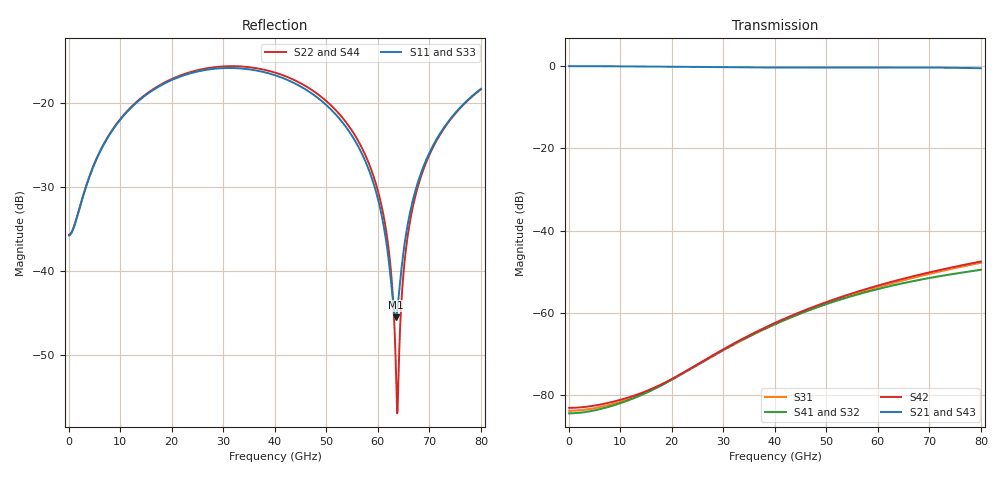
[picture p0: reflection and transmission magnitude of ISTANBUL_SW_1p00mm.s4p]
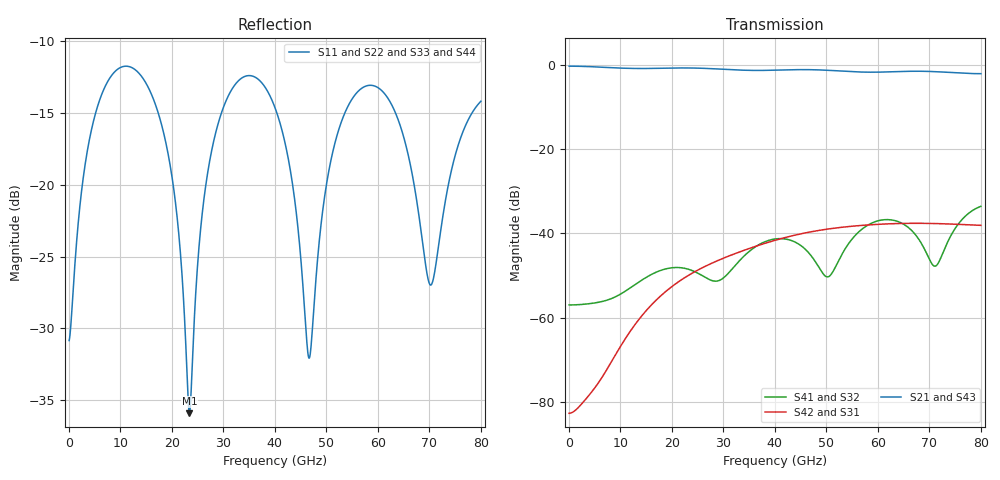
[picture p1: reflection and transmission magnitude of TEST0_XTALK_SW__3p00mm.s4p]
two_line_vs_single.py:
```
"""Istanbul line A (ports 1, 2; line B ports in 50 ohm): extrapolation to 10 mm.
Two-line method (5 + 8.75 mm): with identical ends E, the ABCD matrices are T_L = E1 Tline(L) E2, so
M = T_8.75 T_5^-1 = E1 Tline(3.75) E1^-1 and T_10 = M^(1/3) T_8.75 = E1 Tline(10) E2: the CST ends appear once, the line
is exact, no line model or Zc needed. Eigenvalues of M = exp(-+gamma 3.75 mm) give gamma free of end effects.
Single-line method (GUI): alpha, n_m, Zc from one length (extract_line_fit), uniform line of 10 mm between 50 ohm.
Check of the two-line method: (3 + 5) -> 8.75 mm against the simulated 8.75 mm.
Caveats: 3/5 mm and 1/8.75 mm are two mesh/port families (four_lengths_results.md); 5 + 8.75 mixes them.
The two-line result is singular where the length difference is a multiple of half a wavelength (19, 38, 57 GHz for
3.75 mm): spikes there are the method, not the line. Two-line alpha is noisy point to point; smoothed for the EO."""
import os, sys, tempfile
HERE = os.path.dirname(os.path.abspath(__file__)); sys.path.insert(0, os.path.abspath(os.path.join(HERE, "../../../..")))
import numpy as np, skrf as rf, matplotlib
matplotlib.use("Agg"); import matplotlib.pyplot as plt
from mzm_interconnect.extractor import extract_line_fit
from mzm_interconnect.physics import eo_transfer, C0
FILES = {1.0: "ISTANBUL_SW_1p00mm.s4p", 3.0: "TEST0_XTALK_SW__3p00mm.s4p", 5.0: "TEST0_XTALK_SW_5mm.s4p", 8.75: "ISTANBUL_SW_8p75mm.s4p"}
Z0 = 50.0; tmp = tempfile.mkdtemp()
net = {L: rf.Network(os.path.join(HERE, fn)).subnetwork([0, 1]) for L, fn in FILES.items()}
F = net[5.0].f / 1e9; k = (F >= 1) & (F <= 60); f = F[k]
def s2a(s):
    s11, s12, s21, s22 = s[:, 0, 0], s[:, 0, 1], s[:, 1, 0], s[:, 1, 1]
    A = ((1 + s11) * (1 - s22) + s12 * s21) / (2 * s21); B = Z0 * ((1 + s11) * (1 + s22) - s12 * s21) / (2 * s21)
    C = ((1 - s11) * (1 - s22) - s12 * s21) / (2 * s21 * Z0); D = ((1 - s11) * (1 + s22) + s12 * s21) / (2 * s21)
    return np.stack([np.stack([A, B], -1), np.stack([C, D], -1)], -2)
def a2s(T):
    A, B, C, D = T[:, 0, 0], T[:, 0, 1], T[:, 1, 0], T[:, 1, 1]; d = A + B / Z0 + C * Z0 + D
    return np.stack([np.stack([(A + B / Z0 - C * Z0 - D) / d, 2 * (A * D - B * C) / d], -1), np.stack([2 / d, (-A + B / Z0 - C * Z0 + D) / d], -1)], -2)
T = {L: s2a(n.s[k]) for L, n in net.items()}
def two_line(La, Lb, Lt):
    """gamma from (La < Lb) and T at Lt = M^p T_Lb, p = (Lt - Lb)/(Lb - La)."""
    M = T[Lb] @ np.linalg.inv(T[La]); dL = (Lb - La) * 1e-3
    w, V = np.linalg.eig(M)
    g = -np.log(w) / dL                         # two eigenvalues: exp(-gamma dL), exp(+gamma dL)
    i = np.argmax(g.real, axis=1); j = 1 - i     # forward wave: Re(gamma) > 0
    gf = g[np.arange(len(f)), i]
    beta = np.unwrap(-np.angle(w[np.arange(len(f)), i])) / dL  # unwrap the phase over frequency
    beta += 2 * np.pi * np.round((2 * np.pi * f * 1e9 * 2.1 / C0 - beta)[0] / (2 * np.pi / dL)) / dL * 0
    gam = gf.real + 1j * beta
    p = (Lt - Lb) / (Lb - La)
    lam = np.zeros((len(f), 2), complex)
    lam[np.arange(len(f)), i] = np.exp(-gam * dL * p); lam[np.arange(len(f)), j] = np.exp(gam * dL * p)
    Mp = V @ (lam[:, :, None] * np.linalg.inv(V))
    return gam, a2s(Mp @ T[Lb])
def single(L, Lt, ff=None):
    n = net[L]; p = os.path.join(tmp, f"A{int(L*100)}"); n.write_touchstone(p); fit = extract_line_fit(p + ".s2p", L)
    ff = f if ff is None else ff
    g = fit.alpha_dB_cm(ff) * 100 / 8.686 + 1j * 2 * np.pi * ff * 1e9 * fit.nm(ff) / C0; zc = fit.Zc(ff); gl = g * Lt * 1e-3
    den = 2 * zc * Z0 * np.cosh(gl) + (zc ** 2 + Z0 ** 2) * np.sinh(gl)
    return fit, (zc ** 2 - Z0 ** 2) * np.sinh(gl) / den, 2 * zc * Z0 / den
dB = lambda x: 20 * np.log10(abs(x)); ph = lambda x: np.degrees(np.unwrap(np.angle(x)))
at = lambda y, q: y[np.argmin(abs(f - q))]
# check of the two-line method on a simulated length
g35, S875 = two_line(3.0, 5.0, 8.75); s = net[8.75].s[k]
print("check (3+5 -> 8.75 vs simulated 8.75): |S21| err at 30/60 GHz %+.3f %+.3f dB, phase err %+.1f %+.1f deg, |S11| rms %.2f dB" % (
      at(dB(S875[:, 1, 0]) - dB(s[:, 1, 0]), 30), at(dB(S875[:, 1, 0]) - dB(s[:, 1, 0]), 60),
      at(ph(S875[:, 1, 0]) - ph(s[:, 1, 0]), 30), at(ph(S875[:, 1, 0]) - ph(s[:, 1, 0]), 60), np.sqrt(np.mean((dB(S875[:, 0, 0]) - dB(s[:, 0, 0])) ** 2))))
g58, S10 = two_line(5.0, 8.75, 10.0)
nm2 = lambda g: g.imag * C0 / (2 * np.pi * f * 1e9); al2 = lambda g: g.real * 8.686 / 100
print("\nline parameters at 30 / 60 GHz:   n_m            alpha (dB/cm)")
print("  two-line 5 + 8.75 mm     %.4f %.4f   %.3f %.3f" % (at(nm2(g58), 30), at(nm2(g58), 60), at(al2(g58), 30), at(al2(g58), 60)))
print("  two-line 3 + 5 mm        %.4f %.4f   %.3f %.3f" % (at(nm2(g35), 30), at(nm2(g35), 60), at(al2(g35), 30), at(al2(g35), 60)))
fits = {}
for L in (3.0, 5.0, 8.75):
    fit, s11, s21 = single(L, 10.0); fits[L] = (fit, s11, s21)
    print("  single %5.2f mm (fit)    %.4f %.4f   %.3f %.3f   Re Zc %.1f %.1f" % (L, *fit.nm(np.array([30., 60.])), *fit.alpha_dB_cm(np.array([30., 60.])), *fit.Zc(np.array([30., 60.])).real))
print("\n10 mm, single-line extrapolation minus two-line (5 + 8.75):")
print("  from    |S21| at 30/60 GHz (dB)   S21 phase at 30/60 (deg)   |S11| rms 1-60 (dB)   EO at 30/60 (dB)")
fe = np.arange(1.0, 60.01, 0.25); REF = (fe >= 3) & (fe <= 10.7)
zref = fits[8.75][0].Zc(fe)
def eo(al, nm):
    H, _ = eo_transfer(fe, al, nm, zref, 10e-3, 2.27, 50.0, 50.0); return 20 * np.log10(abs(H) / np.mean(abs(H[REF])))
from scipy.signal import savgol_filter
def smooth(g):
    """two-line alpha is noisy point to point (the loss over 3.75 mm is ~1-2 dB): least-squares a sqrt f + b f + c;
    n_m: Savitzky-Golay, 81 points (6.4 GHz), order 2."""
    A = np.c_[np.sqrt(f), f, np.ones_like(f)]; c, *_ = np.linalg.lstsq(A, al2(g), rcond=None)
    return np.interp(fe, f, A @ c), np.interp(fe, f, savgol_filter(nm2(g), 81, 2))
eo2 = eo(*smooth(g58))
print("two-line pairs, medians over 25-35 GHz (alpha dB/cm +- std point to point, n_m): " + "; ".join(
    f"{a:g}+{b:g}: {np.median(al2(two_line(a, b, 10.0)[0])[(f >= 25) & (f < 35)]):.2f} +- {np.std(al2(two_line(a, b, 10.0)[0])[(f >= 25) & (f < 35)]):.2f}, "
    f"{np.median(nm2(two_line(a, b, 10.0)[0])[(f >= 25) & (f < 35)]):.4f}" for a, b in ((5.0, 8.75), (3.0, 5.0), (1.0, 8.75), (3.0, 8.75))))
ae = lambda y, q: y[np.argmin(abs(fe - q))]
out = {}
for L, (fit, s11, s21) in fits.items():
    e1 = eo(fit.alpha_dB_cm(fe), fit.nm(fe)) - eo2; out[L] = (s21, s11, e1)
    print(f"  {L:5.2f}   {at(dB(s21) - dB(S10[:, 1, 0]), 30):+.3f} {at(dB(s21) - dB(S10[:, 1, 0]), 60):+.3f}          "
          f"{at(ph(s21) - ph(S10[:, 1, 0]), 30):+6.1f} {at(ph(s21) - ph(S10[:, 1, 0]), 60):+6.1f}              "
          f"{np.sqrt(np.mean((dB(s11) - dB(S10[:, 0, 0])) ** 2)):.2f}                {ae(e1, 30):+.3f} {ae(e1, 60):+.3f}")
print("  (EO: same Zc, 50/50 ohm, n_g 2.27; only alpha and n_m differ)")
fig, ax = plt.subplots(1, 3, figsize=(15, 4.4))
ax[0].plot(f, dB(S10[:, 1, 0]), "k", lw=2.2, label="two-line (5 + 8.75 mm)"); ax[1].plot(f, dB(S10[:, 0, 0]), "k", lw=1.6, label="two-line (5 + 8.75 mm)")
C = {3.0: "#1baa7d", 5.0: "#7a4bd1", 8.75: "#2a78d6"}
for L, (s21, s11, e1) in out.items():
    ax[0].plot(f, dB(s21), color=C[L], lw=1.2, label=f"single line {L:g} mm"); ax[1].plot(f, dB(s11), color=C[L], lw=1.0, label=f"single line {L:g} mm")
    ax[2].plot(f, ph(s21) - ph(S10[:, 1, 0]), color=C[L], lw=1.4, label=f"single line {L:g} mm")
ax[0].set_ylim(-6, 0); ax[1].set_ylim(-50, 0); ax[2].axhline(0, color="k", lw=0.8)
for a_, t in zip(ax, ("|S21| at 10 mm (dB)", "|S11| at 10 mm (dB)", "S21 phase error vs two-line (deg)")):
    a_.set_xlim(0, 60); a_.set_xlabel("frequency (GHz)"); a_.set_ylabel(t); a_.grid(alpha=0.3); a_.legend(frameon=False, fontsize=8)
fig.suptitle("Istanbul line A extrapolated to 10 mm: two-line de-embedding (5 + 8.75 mm) vs single-line extraction", fontsize=11)
fig.tight_layout(); fig.savefig(os.path.join(HERE, "two_line_vs_single.png"), dpi=170)

# summary table: single-line fits at each length and the two-line (5 + 8.75 mm) values, away from the blind spots
QS = (15.0, 30.0, 50.0)
blind = np.zeros_like(f, bool)
for m in (1, 2, 3): blind |= abs(f - m * C0 / (2 * 2.10 * 3.75e-3) / 1e9) < 1.5
win = lambda y, q: np.median(y[(abs(f - q) <= 2.0) & ~blind])
print("\nTable (n_m | Re Z0 ohm | alpha dB/cm) at " + ", ".join(f"{q:g}" for q in QS) + " GHz")
for L in (1.0, 3.0, 5.0, 8.75):
    fit = single(L, 10.0)[0]; q = np.array(QS)
    print(f"  single {L:5.2f} mm: " + " | ".join(f"{n:.4f} {z:.1f} {a:.2f}" for n, z, a in zip(fit.nm(q), fit.Zc(q).real, fit.alpha_dB_cm(q))))
print("  two-line 5+8.75 : " + " | ".join(f"{win(nm2(g58), q):.4f}  n/a {win(al2(g58), q):.2f}" for q in QS) + "   (medians +-2 GHz)")
```
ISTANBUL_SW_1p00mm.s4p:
! TOUCHSTONE file generated by CST MICROWAVE STUDIO
! Date and time: Wed Oct 21 13:39:17 2026
! Project name: TEST0_XTALK_SW_1mm.cst
! Parameters = {L=1; L1=0.01; L2=0.076; PITCH=0.2; START_POSITION=0.075; W1=0.002; W2=0.022; gap=0.00415; interaxis=0.625; ln_thickness=0.000275; mtx=0.002; si_thickness=0.3; sio2_thickness=0.0047; w=1; wg=0.03; ws=0.01}
! Header version: 2024
! Port assignment regex: !\s*Touchstone port\s*([0-9]+)\s*=\s*(CST MWS port|CST DES external port|CST DES block port)\s*(.+)\s* \(\"(.*)\"\)(\s*mode\s*([0-9]+))?.*
! Touchstone port assignment:
! Touchstone port 1 = CST MWS port 1 ("")
! Touchstone port 2 = CST MWS port 2 ("")
! Touchstone port 3 = CST MWS port 3 ("")
! Touchstone port 4 = CST MWS port 4 ("")
# GHz S MA R 50
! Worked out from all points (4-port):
!   1000 points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, 80 MHz to 80 GHz, reference 50 ohm
!   strongest paths, dB at 80 MHz, 20.08 GHz, 40.08 GHz, 60.08 GHz, 80 GHz:
!     S21: -0.1, -0.3, -0.5, -0.4, -0.6
!     S43: -0.1, -0.3, -0.5, -0.4, -0.6
!     S42: -83.0, -75.9, -62.4, -53.3, -47.5
!     S41: -84.3, -76.1, -62.6, -54.2, -49.5
!     S32: -84.3, -76.1, -62.6, -54.2, -49.5
!     S31: -83.7, -76.1, -62.7, -53.7, -47.8
!   lowest |S11| = -45.5 dB at 63.44 GHz (marker M1), VSWR 1.01, Z = 50.5 + j0.0504 ohm
!   |S11| at or under -10 dB: start of sweep to end of sweep
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0.08  0.01632 2.1  0.9835 -0.2  6.532e-05 178.9  6.08e-05 -1.1
      0.9835 -0.2  0.01648 2.0  6.083e-05 -1.1  7.081e-05 178.9
      6.532e-05 178.9  6.083e-05 -1.1  0.01632 2.1  0.9835 -0.2
      6.08e-05 -1.1  7.081e-05 178.9  0.9835 -0.2  0.01648 2.0
63.44  0.005305 5.4  0.9501 -175.9  0.002356 -51.4  0.002196 127.5
       0.9501 -175.9  0.003063 -76.1  0.002196 127.5  0.002464 -50.1
       0.002356 -51.4  0.002196 127.5  0.005304 5.4  0.9501 -175.9
       0.002196 127.5  0.002464 -50.1  0.9501 -175.9  0.003063 -76.1
80  0.1222 54.5  0.9283 136.9  0.004067 -173.7  0.003344 -1.2
    0.9283 136.9  0.1214 31.7  0.003344 -1.1  0.004218 -171.9
    0.004067 -173.7  0.003344 -1.1  0.1222 54.5  0.9283 136.9
    0.003344 -1.2  0.004218 -171.9  0.9283 136.9  0.1214 31.7
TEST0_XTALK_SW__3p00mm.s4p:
! TOUCHSTONE file generated by CST MICROWAVE STUDIO
! Date and time: Thu Oct 22 15:25:15 2026
! Project name: TEST0_XTALK_SW_3mm.cst
! Parameters = {L=3; L1=0.01; L2=0.076; PITCH=0.2; START_POSITION=0.1; W1=0.002; W2=0.022; gap=0.00415; interaxis=0.625; ln_thickness=0.000275; mtx=0.002; si_thickness=0.3; sio2_thickness=0.0047; w=1; wg=0.03; ws=0.01}
! Header version: 2024
! Port assignment regex: !\s*Touchstone port\s*([0-9]+)\s*=\s*(CST MWS port|CST DES external port|CST DES block port)\s*(.+)\s* \(\"(.*)\"\)(\s*mode\s*([0-9]+))?.*
! Touchstone port assignment:
! Touchstone port 1 = CST MWS port 1 ("")
! Touchstone port 2 = CST MWS port 2 ("")
! Touchstone port 3 = CST MWS port 3 ("")
! Touchstone port 4 = CST MWS port 4 ("")
# GHz S MA R 50
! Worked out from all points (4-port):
!   1000 points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, 80 MHz to 80 GHz, reference 50 ohm
!   strongest paths, dB at 80 MHz, 20.08 GHz, 40.08 GHz, 60.08 GHz, 80 GHz:
!     S21: -0.3, -0.7, -1.2, -1.7, -2.0
!     S43: -0.3, -0.7, -1.2, -1.7, -2.0
!     S42: -82.7, -52.6, -41.6, -37.8, -38.1
!     S31: -82.7, -52.6, -41.6, -37.8, -38.1
!     S41: -57.0, -48.1, -41.3, -37.0, -33.6
!     S32: -57.0, -48.1, -41.3, -37.0, -33.6
!   lowest |S11| = -35.9 dB at 23.44 GHz (marker M1), VSWR 1.03, Z = 51.6 - j0.13 ohm
!   |S11| at or under -10 dB: start of sweep to end of sweep
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0.08  0.02868 5.3  0.9713 -0.6  7.33e-05 176.5  0.001416 -2.4
      0.9713 -0.6  0.02867 5.3  0.001416 -2.4  7.315e-05 176.5
      7.328e-05 176.5  0.001416 -2.4  0.02868 5.3  0.9713 -0.6
      0.001416 -2.4  7.314e-05 176.5  0.9713 -0.6  0.02868 5.3
23.44  0.01599 -4.5  0.9245 -178.5  0.003234 -38.0  0.003727 91.2
       0.9245 -178.5  0.01603 -4.6  0.003727 91.2  0.003234 -38.0
       0.003234 -38.0  0.003727 91.2  0.01599 -4.5  0.9245 -178.5
       0.003727 91.2  0.003234 -38.0  0.9245 -178.5  0.01603 -4.6
80  0.1957 11.8  0.791 116.2  0.0125 50.0  0.02101 36.5
    0.791 116.2  0.1956 11.8  0.02101 36.5  0.0125 50.0
    0.0125 50.0  0.02101 36.5  0.1957 11.8  0.7909 116.2
    0.02101 36.5  0.0125 50.0  0.7909 116.2  0.1956 11.8
